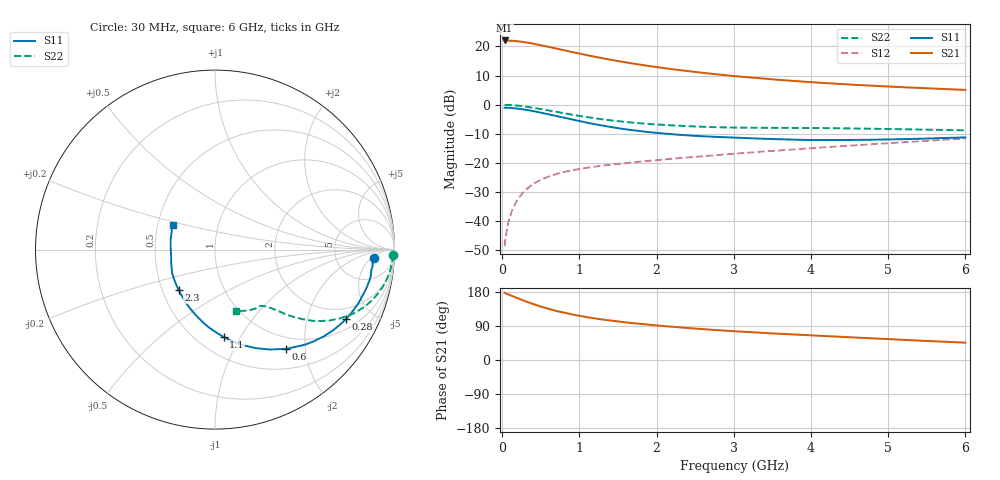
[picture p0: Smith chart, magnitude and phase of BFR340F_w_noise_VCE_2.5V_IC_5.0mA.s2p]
! Infineon Technologies  Discrete & RF Semiconductors
! BFR340F
! VCE =  2.5 V,  IC =  5.0 mA
! Common Emitter S-Parameters:  Nov 2015
# GHz  S  MA  R  50
!  f  S11  S21  S12  S22
! GHz  MAG  ANG  MAG  ANG  MAG  ANG  MAG  ANG
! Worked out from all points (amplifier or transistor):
!   206 points, 30 MHz to 6 GHz, reference 50 ohm
!   highest |S21| = 22.0 dB at 30 MHz (marker M1)
!   |S21| within 3 dB of that: start of sweep to 737 MHz
!   unconditionally stable (mu >= 1): 3.088 GHz to end of sweep
!   at 200 MHz: K = 0.12, MSG = 27.2 dB, |S12| = -32.6 dB
!   at 1.56 GHz: K = 0.75, MSG = 17.4 dB, |S12| = -20.2 dB
!   at 6 GHz: K = 1.00, MAG = 8.0 dB, |S12| = -11.6 dB
!   lowest NFmin = 1.09 dB at 450 MHz
!   S11 on the Smith chart (normalised r, x): 30 MHz: 14, -6; 280 MHz: 1.44, -3.47; 600 MHz: 0.80, -1.65; 1.1 GHz: 0.67, -0.85; 2.3 GHz: 0.61, -0.30; 6 GHz: 0.60, +0.18
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0.03  0.8856 -3.2  12.66 177.5  0.0037 88.3  0.9913 -1.7
0.05  0.8805 -5.2  12.59 175.1  0.006 88.2  0.9902 -3.0
0.07  0.8784 -7.3  12.65 173.5  0.0084 87.2  0.9893 -4.2
0.14  0.8696 -14.4  12.49 167.9  0.0168 82.3  0.9772 -8.4
0.2  0.8536 -20.4  12.27 162.8  0.0235 79.1  0.9614 -11.8
0.28  0.8251 -27.9  11.87 156.5  0.0319 75.2  0.9336 -16.0
0.36  0.7923 -35.2  11.41 150.4  0.0396 71.8  0.9009 -19.9
0.45  0.7517 -42.8  10.83 144.1  0.0474 68.4  0.8613 -23.8
0.6  0.6802 -54.4  9.842 134.8  0.0582 63.8  0.7924 -29.0
0.8  0.5931 -67.7  8.584 124.7  0.0696 59.6  0.7084 -34.2
0.9  0.5548 -73.6  8.036 120.4  0.0743 58.1  0.6712 -36.2
1.04  0.5066 -81.3  7.338 115.2  0.0801 56.8  0.6262 -38.3
1.1  0.4888 -84.4  7.06 113.0  0.0824 56.3  0.6088 -39.1
1.3  0.436 -94.2  6.26 106.8  0.0896 55.3  0.559 -41.3
1.52  0.3903 -103.9  5.544 101.1  0.0967 54.9  0.5163 -43.1
1.72  0.3595 -111.9  5.01 96.6  0.1029 54.9  0.4866 -44.4
2.02  0.3253 -122.7  4.376 90.8  0.112 55.4  0.4545 -46.0
2.3  0.3025 -132.1  3.913 86.1  0.1207 56.1  0.4331 -47.5
3.1  0.2681 -153.7  3.018 74.9  0.1466 57.9  0.4018 -51.9
4.1  0.2463 -174.1  2.381 64.0  0.1821 59.4  0.3965 -56.5
5.1  0.2537 166.1  2.015 54.0  0.2219 59.7  0.3798 -63.7
6  0.2737 149.6  1.791 45.8  0.2621 59.0  0.3616 -71.4
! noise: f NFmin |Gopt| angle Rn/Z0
0.45  1.09  0.48  3  0.33
0.9  1.1  0.48  12  0.36
1.9  1.33  0.35  18  0.33
2.4  1.45  0.32  29  0.31
